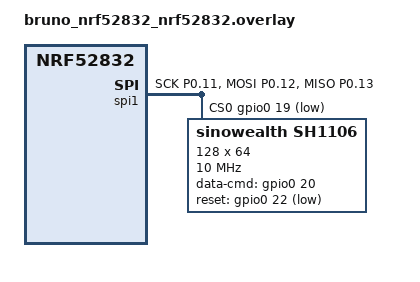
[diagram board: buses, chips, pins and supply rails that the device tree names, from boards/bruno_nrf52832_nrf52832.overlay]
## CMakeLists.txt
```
# SPDX-License-Identifier: Apache-2.0

cmake_minimum_required(VERSION 3.21.0)
set(BOARD bruno_nrf52832_nrf52832)

find_package(Zephyr REQUIRED HINTS $ENV{ZEPHYR_BASE})
project(ssd1306_display)

target_sources(app PRIVATE src/main.c)
set(ssd1306_128x64)
```

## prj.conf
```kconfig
# =============================================================================
# prj.conf - Project Configuration File
# =============================================================================
# This file tells the Zephyr build system which features (drivers, libraries,
# subsystems) to include in the firmware. Each "CONFIG_" line enables or
# configures a specific kernel/driver/library option.
# Lines starting with "#" are comments and are ignored by the build system.
#
# IMPORTANT: In Kconfig files, comments MUST be on their own line.
# You CANNOT put comments after a value (e.g. CONFIG_X=123 # comment is INVALID)
# =============================================================================

# --- Console / Logging -------------------------------------------------------
# These options enable debug output via serial (UART) so you can see messages
# from the firmware on your computer's terminal.

# Enable printk() - basic text output function
CONFIG_PRINTK=y
# Enable Zephyr's logging subsystem (more advanced than printk)
CONFIG_LOG=y
# Print log messages immediately (not buffered/deferred)
CONFIG_LOG_MODE_IMMEDIATE=y

# --- Debug -------------------------------------------------------------------
# Enable debug symbols in the compiled binary (useful for debugging)
CONFIG_DEBUG=y
# Give names to threads (helps identify them in debug tools)
CONFIG_THREAD_NAME=y

# --- Display subsystem -------------------------------------------------------
# Zephyr has a generic "display" subsystem that provides a common API for all
# display drivers. This must be enabled to use any display.

# Enable the display subsystem
CONFIG_DISPLAY=y
# Set display driver log level to "debug" (verbose output)
CONFIG_DISPLAY_LOG_LEVEL_ERR=y

# --- SSD1306 OLED driver -----------------------------------------------------
# The SH1106 display uses the same driver as the SSD1306 (they are very similar
# chips). This enables the driver that communicates with the display hardware.

# Enable the SSD1306/SH1106 OLED display driver
CONFIG_SSD1306=y

# --- SPI support -------------------------------------------------------------
# SPI (Serial Peripheral Interface) is the communication bus used to send data
# to the display. The MCU sends pixel data and commands over SPI wires.

# Enable SPI bus driver
CONFIG_SPI=y

# --- GPIO support ------------------------------------------------------------
# GPIO (General Purpose Input/Output) pins are used for the display's control
# signals: the Data/Command pin (tells display if bytes are data or commands)
# and the Reset pin (hardware reset of the display chip).

# Enable GPIO driver
CONFIG_GPIO=y

# --- Optional: Reverse display colors ----------------------------------------
# Uncomment the line below to invert all pixels (white becomes black, etc.)
# CONFIG_SSD1306_REVERSE_MODE=y

# --- LVGL (Light and Versatile Graphics Library) -----------------------------
# LVGL is a popular open-source graphics library for embedded systems.
# It provides widgets (labels, buttons, arcs, etc.) and handles rendering
# graphics to the display buffer automatically.

# Enable the LVGL graphics library
CONFIG_LVGL=y
# Automatically initialize LVGL at boot (no manual setup needed)
CONFIG_LV_Z_AUTO_INIT=y
# Memory pool for LVGL objects: 16 KB of RAM reserved for LVGL
CONFIG_LV_Z_MEM_POOL_SIZE=16384

# --- LVGL Widgets ------------------------------------------------------------
# Each widget type must be explicitly enabled. Only enable what you need to
# save flash (program memory) space.

# Enable text labels (to display text on screen)
CONFIG_LV_USE_LABEL=y
# Enable line drawing widget (connects points with lines)
CONFIG_LV_USE_LINE=y
# Enable arc/circular progress widget
CONFIG_LV_USE_ARC=y
# Enable image widget (to display bitmaps)
CONFIG_LV_USE_IMAGE=y
# Enable canvas widget (draw individual pixels freely)
CONFIG_LV_USE_CANVAS=y
# Enable bar widget (horizontal progress bar)
CONFIG_LV_USE_BAR=y

# --- LVGL Fonts --------------------------------------------------------------
# Fonts define how text looks. Each font takes flash space, so only enable
# the sizes you need.

# Proportional font, 14px tall (good for titles)
CONFIG_LV_FONT_MONTSERRAT_14=y
# Monospace font, 8px tall (good for small text, fits more on screen)
CONFIG_LV_FONT_UNSCII_8=y

# --- LVGL Log Configuration --------------------------------------------------
# LVGL has its own internal logging. This helps debug graphics issues.

# Enable LVGL's internal logging system
CONFIG_LV_USE_LOG=y
# Only show warnings and errors (not verbose info/trace)
CONFIG_LV_LOG_LEVEL_WARN=y

# --- LVGL color depth --------------------------------------------------------
# Color depth = how many bits represent one pixel.
# 1-bit means each pixel is either ON (white) or OFF (black) - monochrome.
# The SH1106 OLED is a monochrome display, so we use 1-bit.

# 1 bit per pixel (monochrome: black or white only)
CONFIG_LV_COLOR_DEPTH_1=y

# --- LVGL rendering buffer ---------------------------------------------------
# LVGL renders graphics into a buffer before sending to the display.
# VDB (Virtual Display Buffer) size is a percentage of the screen.
# 100% = full screen buffer (uses more RAM but avoids partial refresh artifacts).

# Rendering buffer = 100% of screen (full frame in RAM)
CONFIG_LV_Z_VDB_SIZE=100
# Always refresh the entire screen (not just changed areas)
CONFIG_LV_Z_FULL_REFRESH=y

# --- Stack size for main thread ----------------------------------------------
# The "stack" is memory reserved for function calls and local variables.
# Graphics operations need a large stack. 16 KB is generous for this demo.

# 16 KB stack for the main thread
CONFIG_MAIN_STACK_SIZE=16384
```

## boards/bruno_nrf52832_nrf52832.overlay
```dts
/*
 * OLED SPI - SH1106 (Sinowealth)
 * Compatible: "sinowealth,sh1106"
 */

#include <zephyr/dt-bindings/gpio/gpio.h>

/ {
    chosen {
        zephyr,display = &sh1106;
    };
};

&i2c0 { status = "disabled"; };
&i2c1 { status = "disabled"; };
&spi0 { status = "disabled"; };
&adc  { status = "disabled"; };

&spi1 {
    compatible = "nordic,nrf-spim";
    status = "okay";

    #address-cells = <1>;
    #size-cells = <0>;

    cs-gpios = <&gpio0 19 GPIO_ACTIVE_LOW>;

    pinctrl-0 = <&spi1_default>;
    pinctrl-1 = <&spi1_sleep>;
    pinctrl-names = "default", "sleep";

    sh1106: sh1106@0 {
        compatible = "sinowealth,sh1106";
        reg = <0>;
        spi-max-frequency = <10000000>;

        /* SH1106 128x64 */
        width = <128>;
        height = <64>;

        /*
         * SH1106 possui 132 colunas internas, mas 128 visíveis.
         * Ajuste segment-offset conforme seu módulo: 0, 2, ou 4
         */
        segment-offset = <2>;
        page-offset = <0>;
        display-offset = <0>;
        multiplex-ratio = <63>;
        prechargep = <0x22>;

        /* DC pin */
        data-cmd-gpios = <&gpio0 20 GPIO_ACTIVE_HIGH>;

        /* RESET opcional */
         reset-gpios = <&gpio0 22 GPIO_ACTIVE_LOW>;

        /* Orientação do display */
        segment-remap;
        com-invdir;
    };
};

&pinctrl {
    spi1_default: spi1_default {
        group1 {
            psels = <NRF_PSEL(SPIM_SCK,  0, 11)>,
                    <NRF_PSEL(SPIM_MOSI, 0, 12)>,
                    <NRF_PSEL(SPIM_MISO, 0, 13)>;
        };
    };

    spi1_sleep: spi1_sleep {
        group1 {
            psels = <NRF_PSEL(SPIM_SCK,  0, 11)>,
                    <NRF_PSEL(SPIM_MOSI, 0, 12)>,
                    <NRF_PSEL(SPIM_MISO, 0, 13)>;
            low-power-enable;
        };
    };
};
```

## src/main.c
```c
/*
 * =============================================================================
 * SH1106 OLED Display Demo (LVGL 9.x)
 * =============================================================================
 * This program demonstrates different ways to draw on a 128x64 monochrome OLED
 * display using the LVGL graphics library on Zephyr RTOS.
 *
 * It cycles through 5 demos:
 *   1. Text      - Display text with different fonts
 *   2. Lines     - Draw lines connecting points (triangle + X shape)
 *   3. Arc       - Draw curved arc shapes (like a circular progress bar)
 *   4. Image     - Display a bitmap image (smiley face)
 *   5. Canvas    - Draw individual pixels to create shapes
 *
 * SPDX-License-Identifier: Apache-2.0
 * =============================================================================
 */

/* --- Include headers --------------------------------------------------------
 * These #include lines bring in code from external libraries so we can use
 * their functions. Think of it like importing a toolbox.
 */
#include <zephyr/device.h>        /* Zephyr device model (access hardware peripherals) */
#include <zephyr/devicetree.h>    /* Access hardware configuration from the .overlay file */
#include <zephyr/drivers/display.h> /* Display driver API (blanking on/off, write pixels) */
#include <zephyr/kernel.h>        /* Zephyr kernel (threads, sleep, timing) */
#include <lvgl.h>                 /* LVGL graphics library (widgets, drawing, fonts) */
#include <stdio.h>                /* C standard I/O (snprintf for formatting strings) */
#include <string.h>               /* C standard string functions (memcpy, strlen, etc.) */
#include <stdbool.h>              /* C standard bool type (true/false) */

/* --- Logging setup ----------------------------------------------------------
 * This creates a "log channel" named "app". We can then use LOG_INF() to print
 * informational messages and LOG_ERR() to print error messages to the serial
 * console. LOG_LEVEL_INF means we see info messages and above (warn, error).
 */
#include <zephyr/logging/log.h>
LOG_MODULE_REGISTER(app, LOG_LEVEL_INF);

/* --- Constants --------------------------------------------------------------
 * #define creates a named constant. Everywhere the compiler sees the name,
 * it substitutes the value. This avoids "magic numbers" scattered in the code.
 */
#define DEMO_DURATION_MS 2000    /* How long each demo is shown (2000 ms = 2 seconds) */
#define SCREEN_WIDTH     128     /* Display width in pixels */
#define SCREEN_HEIGHT    64      /* Display height in pixels */


/* =============================================================================
 * DEMO 1: TEXT
 * =============================================================================
 * Shows how to create text labels with different fonts and positions.
 * LVGL uses "objects" (widgets) - a label is one type of widget.
 */
static void demo_text(void)
{
	/* Get a pointer to the currently active screen.
	 * All widgets must be placed on a screen to be visible. */
	lv_obj_t *scr = lv_screen_active();

	/* --- Title label (large font) --- */
	/* Create a new label widget and attach it to the screen */
	lv_obj_t *title = lv_label_create(scr);
	/* Set the text content of the label */
	lv_label_set_text(title, "SH1106 Demo");
	/* Change the font to Montserrat 14px (a proportional, smooth font) */
	lv_obj_set_style_text_font(title, &lv_font_montserrat_14, 0);
	/* Position the label: centered horizontally, at the top, 2px down */
	lv_obj_align(title, LV_ALIGN_TOP_MID, 0, 2);

	/* --- Subtitle label (small font) --- */
	lv_obj_t *sub = lv_label_create(scr);
	lv_label_set_text(sub, "128x64 OLED");
	/* UNSCII 8px is a tiny monospace font (each character has equal width) */
	lv_obj_set_style_text_font(sub, &lv_font_unscii_8, 0);
	/* Position: centered both horizontally and vertically, shifted 4px down */
	lv_obj_align(sub, LV_ALIGN_CENTER, 0, 4);

	/* --- Footer label (small font) --- */
	lv_obj_t *footer = lv_label_create(scr);
	lv_label_set_text(footer, "Zephyr + LVGL");
	lv_obj_set_style_text_font(footer, &lv_font_unscii_8, 0);
	/* Position: centered at the bottom, 2px up from edge */
	lv_obj_align(footer, LV_ALIGN_BOTTOM_MID, 0, -2);
}


/* =============================================================================
 * DEMO 2: LINES
 * =============================================================================
 * Draws lines by connecting a series of (x, y) coordinate points.
 * We define the points as arrays, then tell LVGL to draw lines through them.
 */

/* Triangle points: top-center, bottom-left, bottom-right, back to top.
 * Each {x, y} pair is a point on the screen. The line widget connects them
 * in order. Repeating the first point closes the triangle. */
static lv_point_precise_t line_points_triangle[] = {
	{64, 5}, {20, 58}, {108, 58}, {64, 5}
};

/* Diagonal line from top-left corner to bottom-right corner */
static lv_point_precise_t line_points_cross[] = {
	{0, 0}, {SCREEN_WIDTH - 1, SCREEN_HEIGHT - 1}
};

/* Diagonal line from top-right corner to bottom-left corner */
static lv_point_precise_t line_points_cross2[] = {
	{SCREEN_WIDTH - 1, 0}, {0, SCREEN_HEIGHT - 1}
};

static void demo_lines(void)
{
	lv_obj_t *scr = lv_screen_active();

	/* Create a "style" object that defines how lines look.
	 * Styles are reusable - we apply the same style to multiple lines.
	 * "static" means this variable persists between function calls (LVGL needs
	 * the style to stay alive as long as the objects using it exist).
	 * IMPORTANT: Only initialize once to avoid memory leak! */
	static lv_style_t style_line;
	static bool style_initialized = false;
	if (!style_initialized) {
		lv_style_init(&style_line);                        /* Initialize the style ONCE */
		lv_style_set_line_width(&style_line, 1);           /* Line thickness: 1 pixel */
		lv_style_set_line_color(&style_line, lv_color_white()); /* Line color: white */
		style_initialized = true;
	}

	/* --- Triangle --- */
	lv_obj_t *tri = lv_line_create(scr);       /* Create a line widget */
	lv_line_set_points(tri, line_points_triangle, 4); /* Connect 4 points */
	lv_obj_add_style(tri, &style_line, 0);     /* Apply our white, 1px style */

	/* --- Diagonal line 1 (top-left to bottom-right) --- */
	lv_obj_t *d1 = lv_line_create(scr);
	lv_line_set_points(d1, line_points_cross, 2);  /* Connect 2 points */
	lv_obj_add_style(d1, &style_line, 0);

	/* --- Diagonal line 2 (top-right to bottom-left) --- */
	lv_obj_t *d2 = lv_line_create(scr);
	lv_line_set_points(d2, line_points_cross2, 2);
	lv_obj_add_style(d2, &style_line, 0);
}


/* =============================================================================
 * DEMO 3: ARC
 * =============================================================================
 * An arc is a curved line segment (part of a circle). It's commonly used for
 * circular progress indicators or gauges. You set the start/end angles and
 * a value within a range.
 */
static void demo_arc(void)
{
	lv_obj_t *scr = lv_screen_active();

	/* Title label */
	lv_obj_t *label = lv_label_create(scr);
	lv_label_set_text(label, "Arc");
	lv_obj_set_style_text_font(label, &lv_font_unscii_8, 0);
	lv_obj_align(label, LV_ALIGN_TOP_MID, 0, 2);

	/* --- Large arc (75% filled, 270 degree sweep) --- */
	lv_obj_t *arc = lv_arc_create(scr);       /* Create an arc widget */
	lv_arc_set_range(arc, 0, 100);             /* Value range: 0 to 100 */
	lv_arc_set_value(arc, 75);                 /* Current value: 75 (so 75% filled) */
	lv_arc_set_bg_angles(arc, 0, 270);         /* Background arc spans 0 to 270 degrees */
	lv_obj_set_size(arc, 50, 50);              /* Widget size: 50x50 pixels */
	lv_obj_align(arc, LV_ALIGN_CENTER, -20, 6); /* Position: left of center */
	lv_obj_remove_style(arc, NULL, LV_PART_KNOB); /* Hide the knob (drag handle) */

	/* --- Small arc (40% filled, full 360 degree circle) --- */
	lv_obj_t *arc2 = lv_arc_create(scr);
	lv_arc_set_range(arc2, 0, 100);
	lv_arc_set_value(arc2, 40);                /* 40% filled */
	lv_arc_set_bg_angles(arc2, 0, 360);        /* Full circle background */
	lv_obj_set_size(arc2, 30, 30);             /* Smaller: 30x30 pixels */
	lv_obj_align(arc2, LV_ALIGN_CENTER, 35, 6); /* Position: right of center */
	lv_obj_remove_style(arc2, NULL, LV_PART_KNOB);
}


/* =============================================================================
 * DEMO 4: BITMAP IMAGE
 * =============================================================================
 * Displays a pre-defined bitmap image. The image is stored as an array of bytes
 * where each bit represents one pixel (1 = visible, 0 = transparent).
 * This is a 32x32 pixel smiley face.
 */

/* The bitmap data: each row is 32 pixels = 4 bytes (8 pixels per byte).
 * A '1' bit means that pixel is drawn (white on OLED).
 * A '0' bit means that pixel is transparent (shows background).
 * The most significant bit (MSB) is the leftmost pixel in each byte. */
static const uint8_t smiley_map[] = {
	0x00, 0x03, 0xC0, 0x00,  /* Row 0:  ......####...... (top of circle) */
	0x00, 0x1F, 0xF8, 0x00,  /* Row 1:  ...##########... */
	0x00, 0x7F, 0xFE, 0x00,  /* Row 2:  .##############. */
	0x00, 0xFF, 0xFF, 0x00,  /* Row 3  */
	0x01, 0xFF, 0xFF, 0x80,  /* Row 4  */
	0x03, 0xFF, 0xFF, 0xC0,  /* Row 5  */
	0x07, 0xFF, 0xFF, 0xE0,  /* Row 6  */
	0x0F, 0xFF, 0xFF, 0xF0,  /* Row 7  */
	0x0F, 0xFF, 0xFF, 0xF0,  /* Row 8  */
	0x1F, 0x9F, 0xF9, 0xF8,  /* Row 9:  eyes start (gaps in the filled circle) */
	0x1F, 0x0F, 0xF0, 0xF8,  /* Row 10: eyes (larger gaps) */
	0x3F, 0x0F, 0xF0, 0xFC,  /* Row 11 */
	0x3F, 0x0F, 0xF0, 0xFC,  /* Row 12 */
	0x3F, 0x9F, 0xF9, 0xFC,  /* Row 13: eyes end */
	0x3F, 0xFF, 0xFF, 0xFC,  /* Row 14 */
	0x3F, 0xFF, 0xFF, 0xFC,  /* Row 15 */
	0x3F, 0xFF, 0xFF, 0xFC,  /* Row 16 */
	0x3F, 0xFF, 0xFF, 0xFC,  /* Row 17 */
	0x3F, 0xFF, 0xFF, 0xFC,  /* Row 18 */
	0x3E, 0xFF, 0xFF, 0x7C,  /* Row 19: mouth starts (gaps form a smile) */
	0x1E, 0x7F, 0xFE, 0x78,  /* Row 20 */
	0x1F, 0x3F, 0xFC, 0xF8,  /* Row 21 */
	0x0F, 0x9F, 0xF9, 0xF0,  /* Row 22 */
	0x0F, 0xC0, 0x03, 0xF0,  /* Row 23: mouth (big gap = wide smile) */
	0x07, 0xF0, 0x0F, 0xE0,  /* Row 24 */
	0x03, 0xFF, 0xFF, 0xC0,  /* Row 25 */
	0x01, 0xFF, 0xFF, 0x80,  /* Row 26 */
	0x00, 0xFF, 0xFF, 0x00,  /* Row 27 */
	0x00, 0x7F, 0xFE, 0x00,  /* Row 28 */
	0x00, 0x1F, 0xF8, 0x00,  /* Row 29 */
	0x00, 0x03, 0xC0, 0x00,  /* Row 30: bottom of circle */
	0x00, 0x00, 0x00, 0x00,  /* Row 31: empty row */
};

/* Image descriptor: tells LVGL how to interpret the raw byte array above.
 * This struct provides metadata about the image format and dimensions. */
static const lv_image_dsc_t smiley_img = {
	.header = {
		.magic = LV_IMAGE_HEADER_MAGIC, /* Magic number so LVGL knows this is a valid image */
		.cf = LV_COLOR_FORMAT_A1,       /* Color format: A1 = 1-bit alpha (each bit = 1 pixel) */
		.w = 32,                        /* Image width: 32 pixels */
		.h = 32,                        /* Image height: 32 pixels */
		.stride = 4,                    /* Bytes per row: 32 pixels / 8 bits = 4 bytes */
	},
	.data_size = sizeof(smiley_map),    /* Total size of pixel data in bytes */
	.data = smiley_map,                 /* Pointer to the actual pixel data array */
};

static void demo_image(void)
{
	lv_obj_t *scr = lv_screen_active();

	/* Title */
	lv_obj_t *label = lv_label_create(scr);
	lv_label_set_text(label, "Bitmap");
	lv_obj_set_style_text_font(label, &lv_font_unscii_8, 0);
	lv_obj_align(label, LV_ALIGN_TOP_MID, 0, 2);

	/* Create an image widget and set our smiley bitmap as its source */
	lv_obj_t *img = lv_image_create(scr);     /* Create image widget */
	lv_image_set_src(img, &smiley_img);        /* Point it to our bitmap data */
	lv_obj_align(img, LV_ALIGN_CENTER, 0, 6);  /* Center it on screen */
}


/* =============================================================================
 * DEMO 5: CANVAS (Pixel-by-pixel drawing)
 * =============================================================================
 * A canvas is a special widget where you can set individual pixels.
 * Unlike other widgets (which are pre-made shapes), the canvas gives you
 * full control to draw anything pixel by pixel.
 *
 * We use L8 format (8 bits per pixel, grayscale) because it's the simplest
 * format that works reliably with lv_canvas_set_px().
 * The buffer size is: width * height * 1 byte = 80 * 48 = 3840 bytes.
 */
#define CANVAS_W 80   /* Canvas width (smaller than screen to save RAM) */
#define CANVAS_H 48   /* Canvas height */

/* Static buffer in RAM to hold the canvas pixel data.
 * LV_CANVAS_BUF_SIZE() calculates the exact size needed including alignment.
 * Parameters: width, height, bits_per_pixel, stride_alignment */
static uint8_t canvas_buf[LV_CANVAS_BUF_SIZE(CANVAS_W, CANVAS_H, 8, 1)];

/* Helper function: draw a horizontal line from x1 to x2 at height y */
static void canvas_draw_hline(lv_obj_t *canvas, int32_t x1, int32_t x2, int32_t y)
{
	for (int32_t x = x1; x <= x2; x++) {
		/* Set one pixel to white at position (x, y) with full opacity */
		lv_canvas_set_px(canvas, x, y, lv_color_white(), LV_OPA_COVER);
	}
}

/* Helper function: draw a vertical line from y1 to y2 at column x */
static void canvas_draw_vline(lv_obj_t *canvas, int32_t x, int32_t y1, int32_t y2)
{
	for (int32_t y = y1; y <= y2; y++) {
		lv_canvas_set_px(canvas, x, y, lv_color_white(), LV_OPA_COVER);
	}
}

static void demo_canvas(void)
{
	lv_obj_t *scr = lv_screen_active();

	/* Create canvas widget and assign our RAM buffer to it */
	lv_obj_t *canvas = lv_canvas_create(scr);
	lv_canvas_set_buffer(canvas, canvas_buf, CANVAS_W, CANVAS_H,
			     LV_COLOR_FORMAT_L8);  /* L8 = 8-bit grayscale per pixel */
	lv_obj_align(canvas, LV_ALIGN_CENTER, 0, 0);

	/* Fill entire canvas with black (all pixels off) */
	lv_canvas_fill_bg(canvas, lv_color_black(), LV_OPA_COVER);

	/* Draw outer border (rectangle around the canvas edges) */
	canvas_draw_hline(canvas, 0, CANVAS_W - 1, 0);            /* Top edge */
	canvas_draw_hline(canvas, 0, CANVAS_W - 1, CANVAS_H - 1); /* Bottom edge */
	canvas_draw_vline(canvas, 0, 0, CANVAS_H - 1);            /* Left edge */
	canvas_draw_vline(canvas, CANVAS_W - 1, 0, CANVAS_H - 1); /* Right edge */

	/* Draw a smaller inner rectangle (8 pixels from each edge) */
	canvas_draw_hline(canvas, 8, CANVAS_W - 9, 8);
	canvas_draw_hline(canvas, 8, CANVAS_W - 9, CANVAS_H - 9);
	canvas_draw_vline(canvas, 8, 8, CANVAS_H - 9);
	canvas_draw_vline(canvas, CANVAS_W - 9, 8, CANVAS_H - 9);

	/* Draw an "X" shape inside the inner rectangle.
	 * We calculate diagonal positions mathematically:
	 * as 'i' increases (going down), 'x' moves proportionally across. */
	int32_t inner_w = CANVAS_W - 18;  /* Width of inner area */
	int32_t inner_h = CANVAS_H - 18;  /* Height of inner area */

	for (int i = 0; i < inner_h; i++) {
		/* Left-to-right diagonal */
		int32_t x = 9 + (i * inner_w) / inner_h;
		int32_t y = 9 + i;
		lv_canvas_set_px(canvas, x, y, lv_color_white(), LV_OPA_COVER);

		/* Right-to-left diagonal */
		x = CANVAS_W - 10 - (i * inner_w) / inner_h;
		lv_canvas_set_px(canvas, x, y, lv_color_white(), LV_OPA_COVER);
	}

	/* Draw a dot pattern in each corner of the canvas (decorative) */
	for (int32_t dy = 2; dy <= 6; dy += 2) {
		for (int32_t dx = 2; dx <= 6; dx += 2) {
			/* Top-left corner */
			lv_canvas_set_px(canvas, dx, dy,
					 lv_color_white(), LV_OPA_COVER);
			/* Top-right corner */
			lv_canvas_set_px(canvas, CANVAS_W - 1 - dx, dy,
					 lv_color_white(), LV_OPA_COVER);
			/* Bottom-left corner */
			lv_canvas_set_px(canvas, dx, CANVAS_H - 1 - dy,
					 lv_color_white(), LV_OPA_COVER);
			/* Bottom-right corner */
			lv_canvas_set_px(canvas, CANVAS_W - 1 - dx, CANVAS_H - 1 - dy,
					 lv_color_white(), LV_OPA_COVER);
		}
	}
}


/* =============================================================================
 * DEMO 6: MP3 PLAYER (scrolling text + progress bar)
 * =============================================================================
 * Simulates an old-school MP3 player (like a Foston):
 * - Song title scrolls horizontally across the screen
 * - A progress bar fills up over time (like a playback timer)
 * - Current time / total time is displayed
 *
 * This demo is self-contained: it runs its own animation loop for 6 seconds.
 */
#define MP3_DEMO_DURATION_MS 6000  /* Total playback simulation: 6 seconds */
#define MP3_SONG_TOTAL_SEC   210   /* Fake song length: 3:30 = 210 seconds */

static void demo_mp3(void)
{
	lv_obj_t *scr = lv_screen_active();

	/* --- "Now Playing" title at the top --- */
	lv_obj_t *title = lv_label_create(scr);
	lv_label_set_text(title, "> Now Playing");
	lv_obj_set_style_text_font(title, &lv_font_unscii_8, 0);
	lv_obj_align(title, LV_ALIGN_TOP_LEFT, 2, 2);

	/* --- Song name (scrolling text) ---
	 * The label is given a fixed width smaller than the text.
	 * LV_LABEL_LONG_MODE_SCROLL makes it scroll back and forth automatically.
	 * LVGL handles the animation as long as lv_task_handler() is called. */
	lv_obj_t *song = lv_label_create(scr);
	lv_label_set_text(song, "Linkin Park - In The End (Hybrid Theory 2000)");
	lv_obj_set_style_text_font(song, &lv_font_unscii_8, 0);
	lv_obj_set_width(song, SCREEN_WIDTH - 4);  /* Constrain width to force scroll */
	lv_label_set_long_mode(song, LV_LABEL_LONG_MODE_SCROLL);
	/* Scroll speed in pixels per second. Lower = smoother on small screens.
	 * lv_anim_speed(20) encodes "20 pixels/sec" into the duration property.
	 * Default is 40px/s which is too jumpy for a 128px wide display. */
	lv_obj_set_style_anim_duration(song, lv_anim_speed(20), 0);
	lv_obj_align(song, LV_ALIGN_TOP_LEFT, 2, 16);

	/* --- Progress bar ---
	 * A bar widget that we fill from 0% to 100% during the demo. */
	lv_obj_t *bar = lv_bar_create(scr);
	lv_obj_set_size(bar, SCREEN_WIDTH - 10, 8);   /* Almost full width, 8px tall */
	lv_obj_align(bar, LV_ALIGN_BOTTOM_MID, 0, -16);
	lv_bar_set_range(bar, 0, 100);                 /* Range: 0 to 100% */
	lv_bar_set_value(bar, 0, LV_ANIM_OFF);         /* Start at 0% */

	/* --- Time label (e.g., "0:00 / 3:30") --- */
	lv_obj_t *time_label = lv_label_create(scr);
	lv_label_set_text(time_label, "0:00 / 3:30");
	lv_obj_set_style_text_font(time_label, &lv_font_unscii_8, 0);
	lv_obj_align(time_label, LV_ALIGN_BOTTOM_MID, 0, -4);

	/* --- Animation loop ---
	 * We manually update the bar value and time text every 100ms.
	 * Over 6 seconds, the bar goes from 0% to 100% and the time counts up
	 * proportionally to the fake 3:30 song duration. */
	char time_str[16];
	int elapsed_ms = 0;

	while (elapsed_ms < MP3_DEMO_DURATION_MS) {
		/* Calculate progress percentage (0-100) */
		int progress = (elapsed_ms * 100) / MP3_DEMO_DURATION_MS;
		lv_bar_set_value(bar, progress, LV_ANIM_OFF);

		/* Calculate fake song time based on progress.
		 * If song is 3:30 (210s), map elapsed demo time to song time. */
		int song_sec = (elapsed_ms * MP3_SONG_TOTAL_SEC) / MP3_DEMO_DURATION_MS;
		int min = song_sec / 60;
		int sec = song_sec % 60;
		snprintf(time_str, sizeof(time_str), "%d:%02d / 3:30", min, sec);
		lv_label_set_text(time_label, time_str);

		/* Let LVGL process rendering and scroll animation.
		 * 30ms interval = ~33 FPS, smooth enough for scrolling text. */
		lv_task_handler();
		k_sleep(K_MSEC(30));
		elapsed_ms += 30;
	}

	/* Final state: bar full, time at 3:30 */
	lv_bar_set_value(bar, 100, LV_ANIM_OFF);
	lv_label_set_text(time_label, "3:30 / 3:30");
	lv_task_handler();
}


/* =============================================================================
 * HELPER: Clear the screen
 * =============================================================================
 * Removes all widgets from the current screen so the next demo starts fresh.
 * lv_obj_clean() deletes all child objects of the given parent.
 */
static void clear_screen(void)
{
	lv_obj_clean(lv_screen_active());
}


/* =============================================================================
 * MAIN FUNCTION - Program entry point
 * =============================================================================
 * This is where the program starts executing. It:
 * 1. Gets a reference to the display hardware
 * 2. Turns the display on
 * 3. Loops forever, showing each demo for 2 seconds
 */
int main(void)
{
	/* Declare a pointer to a "device" structure.
	 * In Zephyr, all hardware peripherals are represented as "devices".
	 * This pointer will hold the reference to our display hardware. */
	const struct device *display_dev;

	/* Get the display device that was configured in the .overlay file.
	 * DT_CHOSEN(zephyr_display) looks up "zephyr,display" in the devicetree,
	 * which points to our SH1106 OLED. DEVICE_DT_GET() returns a pointer
	 * to the device structure for that hardware. */
	display_dev = DEVICE_DT_GET(DT_CHOSEN(zephyr_display));

	/* Check if the display driver initialized successfully.
	 * If not (e.g., wrong wiring, driver not enabled), log an error and stop. */
	if (!device_is_ready(display_dev)) {
		LOG_ERR("Display device not ready");
		return 0;
	}

	LOG_INF("SH1106 Display Demo started (LVGL 9.x)");

	/* Call the LVGL task handler once to process any pending initialization.
	 * lv_task_handler() is LVGL's main "do work" function - it processes
	 * events, redraws dirty areas, and handles animations. */
	lv_task_handler();

	/* Turn off display blanking (= turn the display ON).
	 * "Blanking" means the display shows nothing (all black). */
	display_blanking_off(display_dev);

	/* --- Demo function table ---
	 * We store pointers to all demo functions in an array.
	 * This lets us cycle through them using an index number.
	 * "typedef void (*demo_fn)(void)" creates a type for "pointer to a
	 * function that takes no arguments and returns nothing". */
	typedef void (*demo_fn)(void);
	static const demo_fn demos[] = {
		demo_text,      /* Demo 1 */
		demo_lines,     /* Demo 2 */
		demo_arc,       /* Demo 3 */
		demo_image,     /* Demo 4 */
		demo_canvas,    /* Demo 5 */
		demo_mp3,       /* Demo 6: MP3 player (has its own 6-second loop) */
	};
	static const char *demo_names[] = {
		"Text", "Lines", "Arc", "Image", "Canvas", "MP3"
	};
	/* ARRAY_SIZE() is a macro that calculates how many elements are in an array */
	const int num_demos = ARRAY_SIZE(demos);

	int current = 0;  /* Index of the currently showing demo */

	/* --- Main loop (runs forever) ---
	 * Each iteration: clear screen, run a demo, wait 2 seconds, next demo. */
	while (1) {
		/* Log which demo is about to be shown */
		LOG_INF("Demo %d/%d: %s", current + 1, num_demos,
			demo_names[current]);

		/* Remove all widgets from previous demo */
		clear_screen();

		/* Call the current demo function (creates new widgets on screen) */
		demos[current]();

		/* Tell LVGL to render the new widgets to the display buffer */
		lv_task_handler();

		/* Keep the demo visible for DEMO_DURATION_MS milliseconds.
		 * We call lv_task_handler() every 30ms to keep LVGL responsive
		 * (handles animations, redraws, etc.) */
		for (int t = 0; t < DEMO_DURATION_MS; t += 30) {
			lv_task_handler();
			k_sleep(K_MSEC(30));  /* Sleep 30ms (saves CPU power) */
		}

		/* Move to the next demo. The % (modulo) operator wraps around:
		 * after the last demo (index 4), it goes back to 0. */
		current = (current + 1) % num_demos;
	}

	return 0;  /* Never reached, but required by the int main() signature */
}
```
